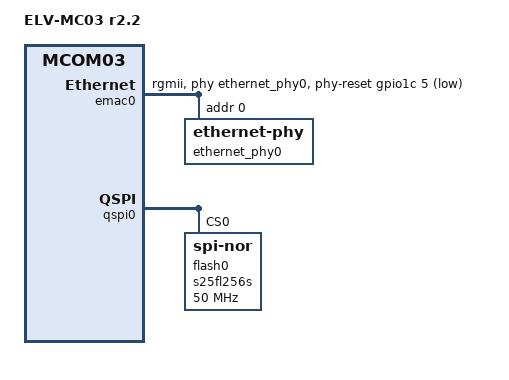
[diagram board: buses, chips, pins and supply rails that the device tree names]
// SPDX-License-Identifier: GPL-2.0+
/*
 * Copyright 2022 RnD Center "ELVEES", JSC
 */

/dts-v1/;

#include <dt-bindings/gpio/gpio.h>

#include "mcom03.dtsi"

/ {
	model = "ELV-MC03 r2.2";
	compatible = "elvees,elvmc03-r2.2",
		     "elvees,elvmc03",
		     "elvees,mcom03";
};

&emac0 {
	phy-mode = "rgmii";
	phy-handle = <&ethernet_phy0>;
	phy-reset-gpios = <&gpio1c 5 GPIO_ACTIVE_LOW>;
	elvees,pads-1v8-en;

	ethernet_phy0: ethernet-phy@0 {
		reg = <0x0>;
		/* This is max GTX_CLK skew (0b11111 * 60ps/step)
		 * for KSZ9031 Ethernet PHY
		 */
		txc-skew-ps = <1860>;
	};
};

&qspi0 {
	status = "okay";

	flash0: s25fl256s@0 {
		#address-cells = <1>;
		#size-cells = <1>;
		compatible = "jedec,spi-nor", "spi-flash";
		reg = <0x0>;
		/* This is the highest frequency at which all commands are
		 * supported by the flash device.
		 */
		spi-max-frequency = <50000000>;
	};
};
